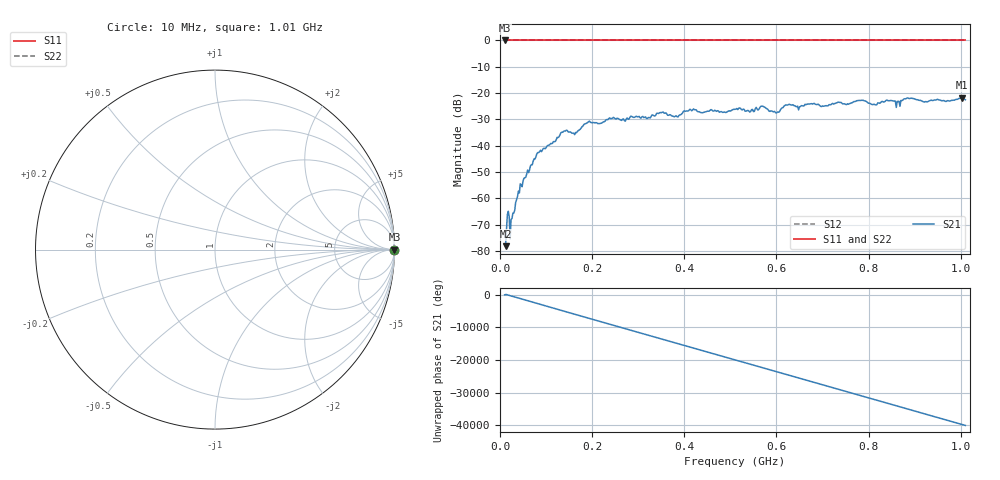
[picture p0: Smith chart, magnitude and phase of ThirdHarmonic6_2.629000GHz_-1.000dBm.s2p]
! 8/17/2025 5:52:09 AM
! C:\ANRITSUVNA\TEMP\TEMP.S2P
! CHANNEL.1
! TR.MEASUREMENT
! RAW.DATA
! RF.CORRECTION.OFF
! AVERAGING.OFF
! IF.BANDWIDTH: 5KHZ
! SWEEPTYPE:  FREQ.SWEEP(Linear)
! Reference Plane Port Info
! PORT:  PORT1  PORT2
! DISTANCE:  0  m  0  m
! TIME:  0  s  0  s
! PHASE.OFFSET:  0  deg.  0  deg.
! LOSS:  0  dB  0  dB
! REF.LOSS:  0  dB  0  dB
! REF.FREQ:  0  Hz  0  Hz
! Power Info
! POWER:  -20  dBm  -20  dBm
! EFF.POWER:  -20  dBm  -20  dBm
! SOURCE.ATTEN:  0  dB  0  dB
! TEST.ATTEN:  0  dB  0  dB
# GHZ S RI R 50.0
! FREQ.GHZ  S11RE  S11IM  S21RE  S21IM  S12RE  S12IM  S22RE  S22IM
!; PortSelection: Port_12
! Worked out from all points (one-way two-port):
!   501 points, 10 MHz to 1.01 GHz, reference 50 ohm
!   highest |S21| = -21.76 dB at 1.002 GHz (marker M1); lowest = -78.2 dB at 12 MHz (marker M2)
!   lowest |S11| = 0.0 dB at 10 MHz (marker M3)
!   |S11| at or under -10 dB: nowhere
!   |S22| runs from 0.0 to 0.0 dB; largest |S21 - S12| = 1.1
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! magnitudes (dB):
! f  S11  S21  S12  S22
! 10 MHz  0.0  -77.7  0.0  0.0
! 12 MHz  0.0  -78.2  0.0  0.0
! 16 MHz  0.0  -66.2  0.0  0.0
! 26 MHz  0.0  -67.7  0.0  0.0
! 42 MHz  0.0  -58.0  0.0  0.0
! 82 MHz  0.0  -42.6  0.0  0.0
! 136 MHz  0.0  -34.9  0.0  0.0
! 162 MHz  0.0  -35.8  0.0  0.0
! 178 MHz  0.0  -32.8  0.0  0.0
! 192 MHz  0.0  -30.9  0.0  0.0
! 322 MHz  0.0  -29.3  0.0  0.0
! 344 MHz  0.0  -27.8  0.0  0.0
! 382 MHz  0.0  -28.6  0.0  0.0
! 416 MHz  0.0  -26.8  0.0  0.0
! 510 MHz  0.0  -26.2  0.0  0.0
! 570 MHz  0.0  -25.0  0.0  0.0
! 602 MHz  0.0  -27.2  0.0  0.0
! 624 MHz  0.0  -24.5  0.0  0.0
! 678 MHz  0.0  -24.2  0.0  0.0
! 844 MHz  0.0  -22.9  0.0  0.0
! 1.002 GHz  0.0  -21.8  0.0  0.0
! 1.01 GHz  0.0  -22.6  0.0  0.0
